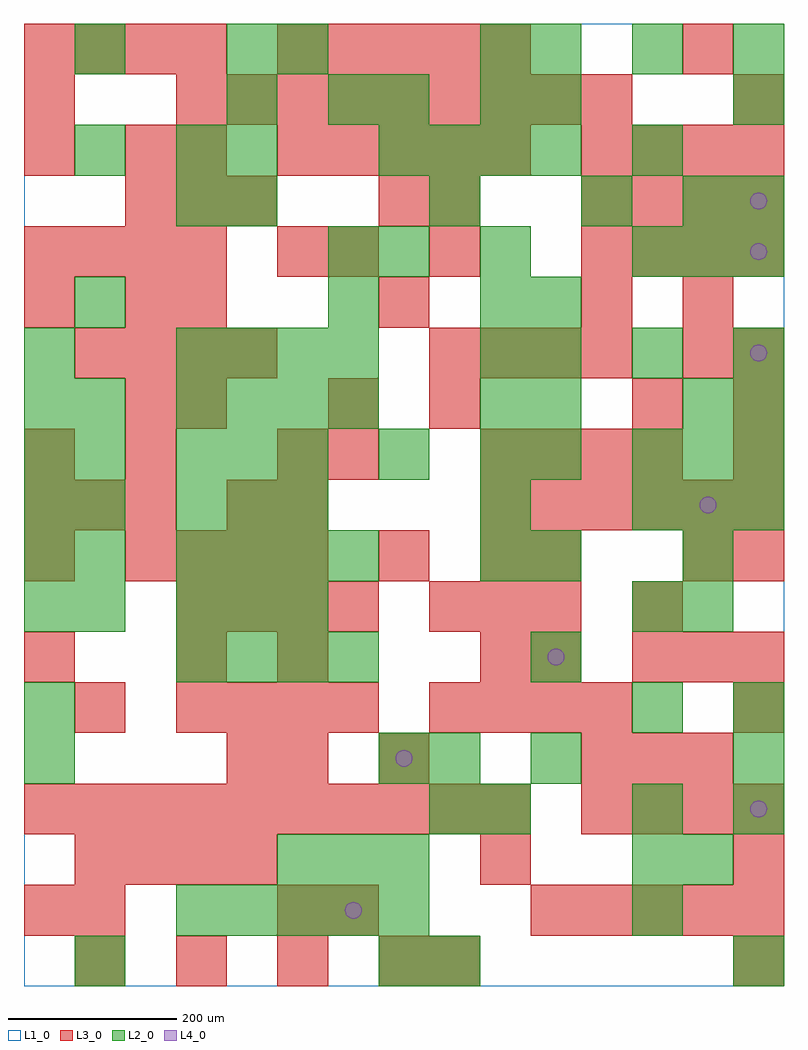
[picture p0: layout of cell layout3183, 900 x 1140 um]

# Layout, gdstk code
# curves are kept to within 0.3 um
import gdstk
lib = gdstk.Library(unit=1e-6, precision=1e-09)
def R(c, l, rs):  # rectangles x0, y0, x1, y1
    for r in rs: c.add(gdstk.rectangle(r[:2], r[2:], *l))
def A(c, l, x, y, w, h, nx, ny, dx, dy):  # array of equal rectangles
    R(c, l, [(x+i*dx, y+j*dy, x+i*dx+w, y+j*dy+h) for i in range(nx) for j in range(ny)])
def P(c, l, *ps):  # polygons
    for p in ps: c.add(gdstk.Polygon(p, *l))
L1_0 = (1, 0)
L2_0 = (2, 0)
L3_0 = (3, 0)
L4_0 = (4, 0)

layout3183 = lib.new_cell('layout3183')
R(layout3183, L1_0, [(0,0,900,1140)])
A(layout3183, L2_0, 180, 60, 60, 60, 5, 1, 60, 0)
A(layout3183, L2_0, 720, 60, 60, 60, 1, 3, 0, 60)
A(layout3183, L2_0, 300, 120, 60, 60, 3, 1, 60, 0)
A(layout3183, L2_0, 840, 180, 60, 60, 1, 3, 0, 60)
A(layout3183, L2_0, 600, 240, 60, 60, 1, 4, 0, 120)
A(layout3183, L2_0, 180, 360, 60, 60, 4, 2, 60, 120)
A(layout3183, L2_0, 0, 420, 60, 60, 1, 6, 0, 60)
A(layout3183, L2_0, 60, 420, 60, 60, 1, 5, 0, 60)
A(layout3183, L2_0, 180, 420, 60, 60, 3, 2, 60, 120)
A(layout3183, L2_0, 540, 480, 60, 60, 1, 7, 0, 60)
A(layout3183, L2_0, 720, 540, 60, 60, 3, 2, 60, 60)
A(layout3183, L2_0, 180, 600, 60, 60, 3, 1, 60, 0)
A(layout3183, L2_0, 180, 660, 60, 60, 4, 2, 60, 60)
A(layout3183, L2_0, 600, 720, 60, 60, 3, 2, 120, 360)
A(layout3183, L2_0, 720, 840, 60, 60, 3, 1, 60, 0)
A(layout3183, L2_0, 240, 900, 60, 60, 1, 4, 0, 60)
A(layout3183, L2_0, 420, 960, 60, 60, 4, 1, 60, 0)
R(layout3183, L2_0, [(60,0,120,60), (420,0,480,60), (480,0,540,60), (840,0,900,60), (780,120,840,180), (480,180,540,240), (540,180,600,240), (0,240,60,300), (420,240,480,300), (480,240,540,300), (0,300,60,360), (720,300,780,360), (720,420,780,480), (780,420,840,480), (780,480,840,540), (420,600,480,660), (600,660,660,720), (780,660,840,720), (840,660,900,720), (60,780,120,840), (360,780,420,840), (600,780,660,840), (360,840,420,900), (420,840,480,900), (180,900,240,960), (480,900,540,960), (660,900,720,960), (780,900,840,960), (840,900,900,960), (60,960,120,1020), (180,960,240,1020), (720,960,780,1020), (360,1020,420,1080), (420,1020,480,1080), (540,1020,600,1080), (600,1020,660,1080), (840,1020,900,1080), (60,1080,120,1140), (300,1080,360,1140), (540,1080,600,1140)])
A(layout3183, L3_0, 60, 0, 60, 60, 4, 1, 120, 0)
A(layout3183, L3_0, 600, 60, 60, 60, 5, 1, 60, 0)
A(layout3183, L3_0, 60, 120, 60, 60, 4, 2, 60, 600)
A(layout3183, L3_0, 840, 120, 60, 60, 1, 3, 0, 180)
A(layout3183, L3_0, 0, 180, 60, 60, 10, 1, 60, 0)
A(layout3183, L3_0, 660, 180, 60, 60, 4, 2, 60, 660)
A(layout3183, L3_0, 660, 240, 60, 60, 3, 1, 60, 0)
A(layout3183, L3_0, 180, 300, 60, 60, 4, 2, 60, 120)
A(layout3183, L3_0, 480, 300, 60, 60, 4, 2, 60, 420)
A(layout3183, L3_0, 0, 360, 60, 60, 1, 3, 0, 120)
A(layout3183, L3_0, 180, 360, 60, 60, 1, 3, 0, 300)
A(layout3183, L3_0, 720, 360, 60, 60, 3, 1, 60, 0)
A(layout3183, L3_0, 480, 420, 60, 60, 3, 1, 60, 0)
A(layout3183, L3_0, 120, 480, 60, 60, 4, 1, 60, 0)
A(layout3183, L3_0, 0, 540, 60, 60, 3, 1, 60, 0)
A(layout3183, L3_0, 540, 540, 60, 60, 6, 1, 60, 0)
A(layout3183, L3_0, 540, 600, 60, 60, 4, 1, 60, 0)
A(layout3183, L3_0, 840, 600, 60, 60, 1, 3, 0, 60)
A(layout3183, L3_0, 180, 780, 60, 60, 3, 1, 240, 0)
A(layout3183, L3_0, 0, 840, 60, 60, 4, 2, 60, 240)
A(layout3183, L3_0, 120, 900, 60, 60, 3, 1, 60, 0)
A(layout3183, L3_0, 660, 900, 60, 60, 4, 2, 60, 60)
A(layout3183, L3_0, 300, 960, 60, 60, 5, 2, 60, 120)
A(layout3183, L3_0, 180, 1020, 60, 60, 9, 1, 60, 0)
R(layout3183, L3_0, [(480,0,540,60), (840,0,900,60), (0,60,60,120), (60,60,120,120), (300,60,360,120), (360,60,420,120), (540,120,600,180), (240,240,300,300), (300,240,360,300), (420,240,480,300), (60,300,120,360), (300,360,360,420), (540,360,600,420), (600,360,660,420), (720,420,780,480), (420,480,480,540), (540,480,600,540), (600,480,660,540), (780,480,840,540), (240,540,300,600), (300,540,360,600), (120,600,180,660), (300,600,360,660), (360,600,420,660), (120,660,180,720), (360,660,420,720), (480,660,540,720), (720,660,780,720), (780,720,840,780), (0,780,60,840), (120,780,180,840), (780,780,840,840), (300,840,360,900), (360,840,420,900), (480,840,540,900), (420,900,480,960), (480,900,540,960), (0,960,60,1020), (120,960,180,1020), (0,1020,60,1080), (840,1020,900,1080), (780,1080,840,1140)])
P(layout3183, L4_0, [(400,90),(399.239,93.827),(397.071,97.071),(393.827,99.239),(390,100),(386.173,99.239),(382.929,97.071),(380.761,93.827),(380,90),(380.761,86.173),(382.929,82.929),(386.173,80.761),(390,80),(393.827,80.761),(397.071,82.929),(399.239,86.173)],
  [(460,270),(459.239,273.827),(457.071,277.071),(453.827,279.239),(450,280),(446.173,279.239),(442.929,277.071),(440.761,273.827),(440,270),(440.761,266.173),(442.929,262.929),(446.173,260.761),(450,260),(453.827,260.761),(457.071,262.929),(459.239,266.173)],
  [(640,390),(639.239,393.827),(637.071,397.071),(633.827,399.239),(630,400),(626.173,399.239),(622.929,397.071),(620.761,393.827),(620,390),(620.761,386.173),(622.929,382.929),(626.173,380.761),(630,380),(633.827,380.761),(637.071,382.929),(639.239,386.173)],
  [(820,570),(819.239,573.827),(817.071,577.071),(813.827,579.239),(810,580),(806.173,579.239),(802.929,577.071),(800.761,573.827),(800,570),(800.761,566.173),(802.929,562.929),(806.173,560.761),(810,560),(813.827,560.761),(817.071,562.929),(819.239,566.173)],
  [(880,210),(879.239,213.827),(877.071,217.071),(873.827,219.239),(870,220),(866.173,219.239),(862.929,217.071),(860.761,213.827),(860,210),(860.761,206.173),(862.929,202.929),(866.173,200.761),(870,200),(873.827,200.761),(877.071,202.929),(879.239,206.173)],
  [(880,750),(879.239,753.827),(877.071,757.071),(873.827,759.239),(870,760),(866.173,759.239),(862.929,757.071),(860.761,753.827),(860,750),(860.761,746.173),(862.929,742.929),(866.173,740.761),(870,740),(873.827,740.761),(877.071,742.929),(879.239,746.173)],
  [(880,870),(879.239,873.827),(877.071,877.071),(873.827,879.239),(870,880),(866.173,879.239),(862.929,877.071),(860.761,873.827),(860,870),(860.761,866.173),(862.929,862.929),(866.173,860.761),(870,860),(873.827,860.761),(877.071,862.929),(879.239,866.173)],
  [(880,930),(879.239,933.827),(877.071,937.071),(873.827,939.239),(870,940),(866.173,939.239),(862.929,937.071),(860.761,933.827),(860,930),(860.761,926.173),(862.929,922.929),(866.173,920.761),(870,920),(873.827,920.761),(877.071,922.929),(879.239,926.173)])

lib.write_gds('layout3183.gds')
